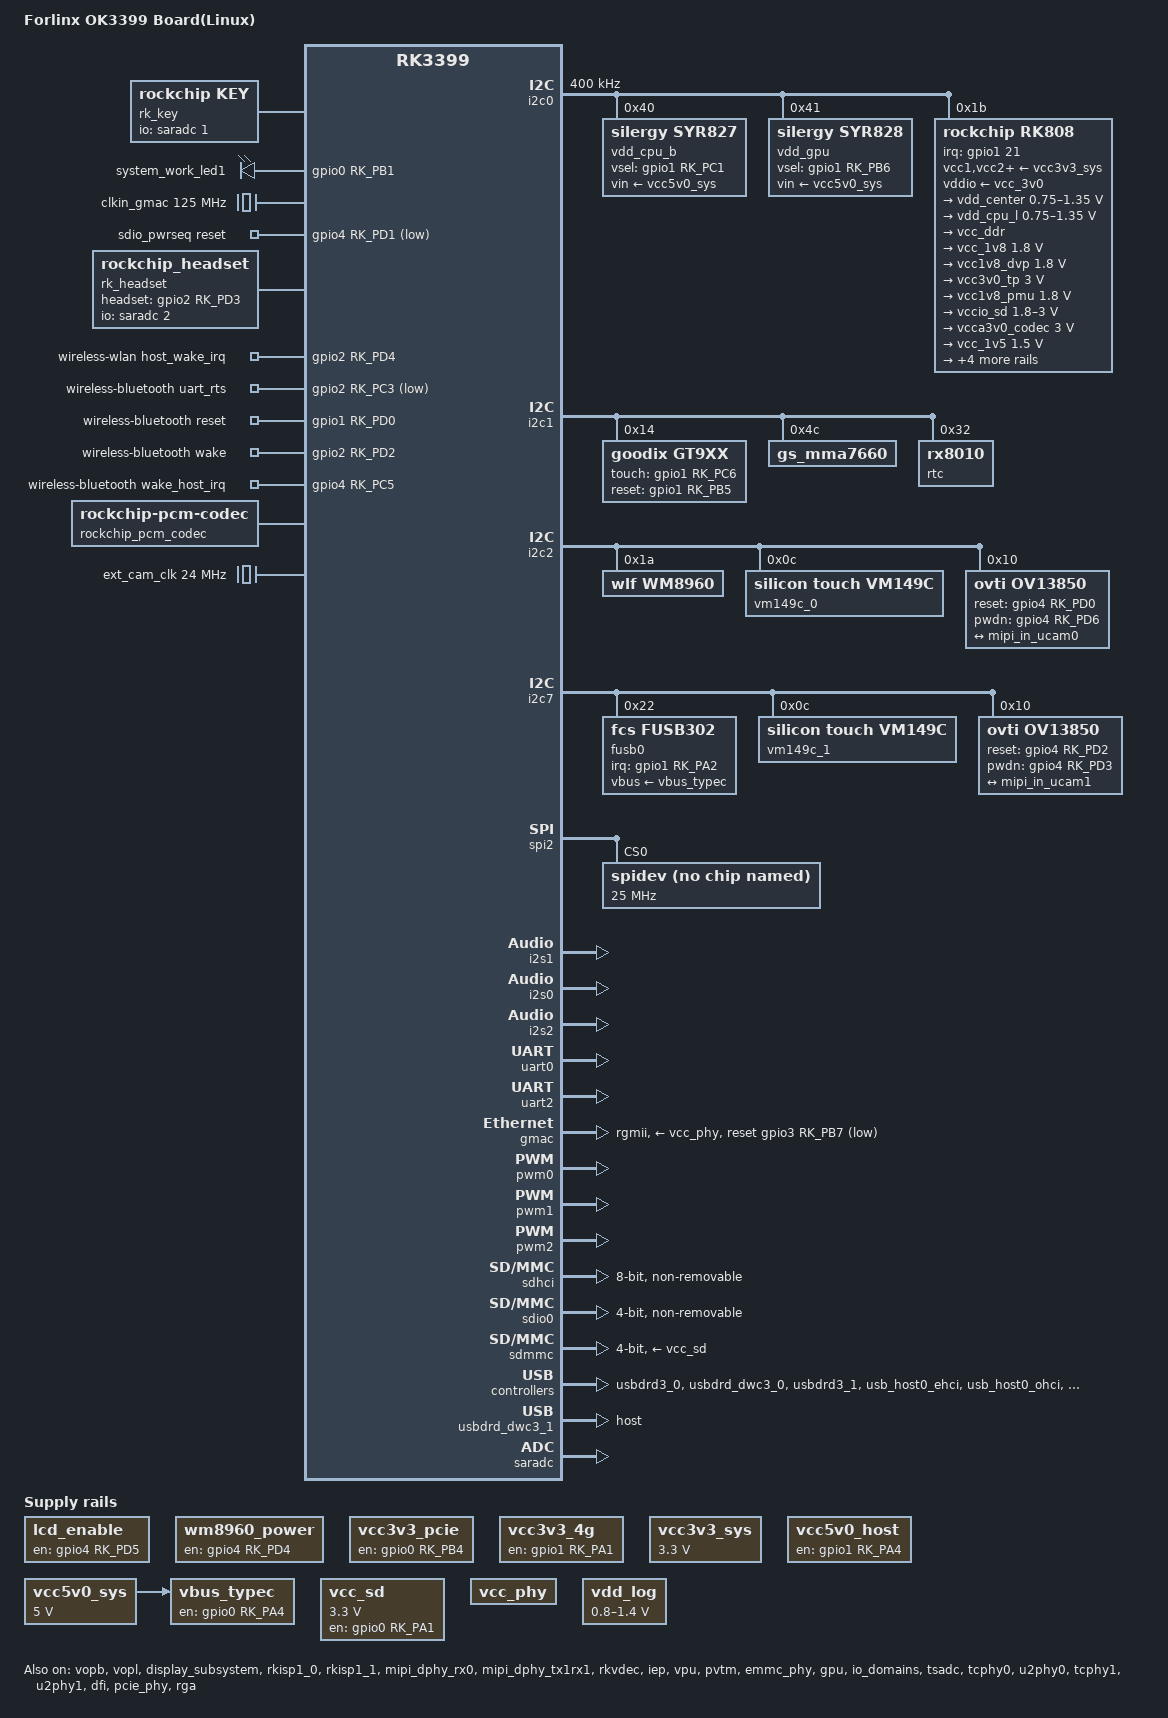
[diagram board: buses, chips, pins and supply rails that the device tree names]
/*
 * Copyright (c) 2016 Fuzhou Rockchip Electronics Co., Ltd
 *
 * This file is dual-licensed: you can use it either under the terms
 * of the GPL or the X11 license, at your option. Note that this dual
 * licensing only applies to this file, and not this project as a
 * whole.
 *
 *  a) This file is free software; you can redistribute it and/or
 *     modify it under the terms of the GNU General Public License as
 *     published by the Free Software Foundation; either version 2 of the
 *     License, or (at your option) any later version.
 *
 *     This file is distributed in the hope that it will be useful,
 *     but WITHOUT ANY WARRANTY; without even the implied warranty of
 *     MERCHANTABILITY or FITNESS FOR A PARTICULAR PURPOSE.  See the
 *     GNU General Public License for more details.
 *
 * Or, alternatively,
 *
 *  b) Permission is hereby granted, free of charge, to any person
 *     obtaining a copy of this software and associated documentation
 *     files (the "Software"), to deal in the Software without
 *     restriction, including without limitation the rights to use,
 *     copy, modify, merge, publish, distribute, sublicense, and/or
 *     sell copies of the Software, and to permit persons to whom the
 *     Software is furnished to do so, subject to the following
 *     conditions:
 *
 *     The above copyright notice and this permission notice shall be
 *     included in all copies or substantial portions of the Software.
 *
 *     THE SOFTWARE IS PROVIDED "AS IS", WITHOUT WARRANTY OF ANY KIND,
 *     EXPRESS OR IMPLIED, INCLUDING BUT NOT LIMITED TO THE WARRANTIES
 *     OF MERCHANTABILITY, FITNESS FOR A PARTICULAR PURPOSE AND
 *     NONINFRINGEMENT. IN NO EVENT SHALL THE AUTHORS OR COPYRIGHT
 *     HOLDERS BE LIABLE FOR ANY CLAIM, DAMAGES OR OTHER LIABILITY,
 *     WHETHER IN AN ACTION OF CONTRACT, TORT OR OTHERWISE, ARISING
 *     FROM, OUT OF OR IN CONNECTION WITH THE SOFTWARE OR THE USE OR
 *     OTHER DEALINGS IN THE SOFTWARE.
 */

/dts-v1/;

#include <dt-bindings/pwm/pwm.h>
#include "rk3399.dtsi"
#include "rk3399-opp.dtsi"
#include <dt-bindings/display/drm_mipi_dsi.h>
#include <dt-bindings/display/media-bus-format.h>
#include <dt-bindings/sensor-dev.h>
#include "rk3399-vop-clk-set.dtsi"

/ {
	model = "Forlinx OK3399 Board(Linux)";
	compatible = "rockchip,linux", "rockchip,rk3399", "forlinx,OK3399-C";
	chosen {
		bootargs = "earlyprintk swiotlb=1 console=ttyS2,115200 rw root=PARTUUID=614e0000-0000 rootfstype=ext4 rootwait coherent_pool=1m mem=768M";
//	      bootargs = "earlycon=uart8250,mmio32,0xff1a0000 swiotlb=1 console=ttyFIQ0,115200,n8 rw root=PARTUUID=614e0000-0000 rootfstype=ext4 rootwait coherent_pool=1m";
	      stdout-path = "serial2:115200n8";
	};

	reserved-memory {
		#address-cells = <2>;
		#size-cells = <2>;
		ranges;

		drm_logo: drm-logo@00000000 {
			compatible = "rockchip,drm-logo";
			reg = <0x0 0x0 0x0 0x0>;
		};
	
		ramoops: ramoops@110000 {
			compatible = "ramoops";
			reg = <0x0 0x110000 0x0 0xf0000>;
			record-size = <0x20000>;
			console-size = <0x80000>;
			ftrace-size = <0x00000>;
			pmsg-size = <0x50000>;
		};	
		


	};



	cpuinfo {
		compatible = "rockchip,cpuinfo";
		nvmem-cells = <&cpu_id>;
		nvmem-cell-names = "id";
	};

	fiq_debugger: fiq-debugger {
		compatible = "rockchip,fiq-debugger";
		status = "disabled";
		rockchip,serial-id = <2>;
		rockchip,wake-irq = <0>;
		rockchip,irq-mode-enable = <0>;  /* If enable uart uses irq instead of fiq */
		rockchip,baudrate = <1500000>;  /* Only 115200 and 1500000 */
		pinctrl-names = "default";
		pinctrl-0 = <&uart2c_xfer>;
		interrupts = <GIC_SPI 150 IRQ_TYPE_LEVEL_HIGH 0>;
	};

	rga: rga@ff680000 {
		compatible = "rockchip,rga2";
		dev_mode = <1>;
		reg = <0x0 0xff680000 0x0 0x1000>;
		interrupts = <GIC_SPI 55 IRQ_TYPE_LEVEL_HIGH 0>;
		clocks = <&cru ACLK_RGA>, <&cru HCLK_RGA>, <&cru SCLK_RGA_CORE>;
		clock-names = "aclk_rga", "hclk_rga", "clk_rga";
		power-domains = <&power RK3399_PD_RGA>;
		dma-coherent;
		status = "okay";
	};

	rk_key: rockchip-key {
		compatible = "rockchip,key";
		status = "okay";

		io-channels = <&saradc 1>;

		vol-up-key {
			linux,code = <115>;
			label = "volume up";
			rockchip,adc_value = <1>;
		};

		vol-down-key {
			linux,code = <114>;
			label = "volume down";
			rockchip,adc_value = <170>;
		};

		power-key {
			gpios = <&gpio0 5 GPIO_ACTIVE_LOW>;
			linux,code = <116>;
			label = "power";
			gpio-key,wakeup;
		};
	};

	leds: gpio-leds {
		compatible = "gpio-leds";
		pinctrl-names = "default";
		pinctrl-0 =<&leds_gpio>;

		led@1 {
			gpios = <&gpio0 RK_PB1 GPIO_ACTIVE_HIGH>;
			label = "system_work_led1"; 
			linux,default-trigger = "heartbeat";
		};

	};
	edp_backlight: edp_backlight {
		status = "disabled";
		compatible = "pwm-backlight";
		pwms = <&pwm1 0 25000 0>;
		enable-gpios = <&gpio1 RK_PC4 GPIO_ACTIVE_HIGH>;

		pinctrl-names = "default";
		pinctrl-0 = <&edp_backlight_enable>;

		brightness-levels = <
			  0   1   2   3   4   5   6   7
			  8   9  10  11  12  13  14  15
			 16  17  18  19  20  21  22  23
			 24  25  26  27  28  29  30  31
			 32  33  34  35  36  37  38  39
			 40  41  42  43  44  45  46  47
			 48  49  50  51  52  53  54  55
			 56  57  58  59  60  61  62  63
			 64  65  66  67  68  69  70  71
			 72  73  74  75  76  77  78  79
			 80  81  82  83  84  85  86  87
			 88  89  90  91  92  93  94  95
			 96  97  98  99 100 101 102 103
			104 105 106 107 108 109 110 111
			112 113 114 115 116 117 118 119
			120 121 122 123 124 125 126 127
			128 129 130 131 132 133 134 135
			136 137 138 139 140 141 142 143
			144 145 146 147 148 149 150 151
			152 153 154 155 156 157 158 159
			160 161 162 163 164 165 166 167
			168 169 170 171 172 173 174 175
			176 177 178 179 180 181 182 183
			184 185 186 187 188 189 190 191
			192 193 194 195 196 197 198 199
			200 201 202 203 204 205 206 207
			208 209 210 211 212 213 214 215
			216 217 218 219 220 221 222 223
			224 225 226 227 228 229 230 231
			232 233 234 235 236 237 238 239
			240 241 242 243 244 245 246 247
			248 249 250 251 252 253 254 255>;
		default-brightness-level = <200>;
	};

	dsi_backlight: dsi_backlight {
		status = "disabled";
		compatible = "pwm-backlight";
		pwms = <&pwm0 0 20000 0>;
		brightness-threshold;

		brightness-levels = <
			  0   1   2   3   4   5   6   7
			  8   9  10  11  12  13  14  15
			 16  17  18  19  20  21  22  23
			 24  25  26  27  28  29  30  31
			 32  33  34  35  36  37  38  39
			 40  41  42  43  44  45  46  47
			 48  49  50  51  52  53  54  55
			 56  57  58  59  60  61  62  63
			 64  65  66  67  68  69  70  71
			 72  73  74  75  76  77  78  79
			 80  81  82  83  84  85  86  87
			 88  89  90  91  92  93  94  95
			 96  97  98  99 100 101 102 103
			104 105 106 107 108 109 110 111
			112 113 114 115 116 117 118 119
			120 121 122 123 124 125 126 127
			128 129 130 131 132 133 134 135
			136 137 138 139 140 141 142 143
			144 145 146 147 148 149 150 151
			152 153 154 155 156 157 158 159
			160 161 162 163 164 165 166 167
			168 169 170 171 172 173 174 175
			176 177 178 179 180 181 182 183
			184 185 186 187 188 189 190 191
			192 193 194 195 196 197 198 199
			200 201 202 203 204 205 206 207
			208 209 210 211 212 213 214 215
			216 217 218 219 220 221 222 223
			224 225 226 227 228 229 230 231
			232 233 234 235 236 237 238 239
			240 241 242 243 244 245 246 247
			248 249 250 251 252 253 254 255>;
		default-brightness-level = <200>;
	};

	clkin_gmac: external-gmac-clock {
		compatible = "fixed-clock";
		clock-frequency = <125000000>;
		clock-output-names = "clkin_gmac";
		#clock-cells = <0>;
	};

	dw_hdmi_audio: dw-hdmi-audio {
		status = "disabled";
		compatible = "rockchip,dw-hdmi-audio";
		#sound-dai-cells = <0>;
	};

	wm8960_sound: wm8960-sound {
		status = "okay";
		compatible = "simple-audio-card";
		simple-audio-card,format = "i2s";
		simple-audio-card,name = "RKWM8960";
		simple-audio-card,mclk-fs = <256>;
		simple-audio-card,widgets =
			"Microphone", "Mic Jack",
			"Line", "Line In",
			"Line", "Line Out",
			"Speaker", "Speaker",
			"Headphone", "Headphone Jack";
		simple-audio-card,routing =
			"Headphone Jack", "HP_L",
			"Headphone Jack", "HP_R",
			"Speaker", "SPK_LP",
			"Speaker", "SPK_LN",
			"Speaker", "SPK_RP",
			"Speaker", "SPK_RN",
			"LINPUT1", "Mic Jack",
			"LINPUT3", "Mic Jack",
			"RINPUT1", "Mic Jack",
			"RINPUT2", "Mic Jack";
		simple-audio-card,cpu {
    		sound-dai = <&i2s0>;
		};
		simple-audio-card,codec {
			sound-dai = <&wm8960>;
		};
	};


	hdmi_sound: hdmi-sound {
		status = "disabled";
		compatible = "simple-audio-card";
		simple-audio-card,format = "i2s";
		simple-audio-card,mclk-fs = <256>;
		simple-audio-card,name = "rockchip,hdmi";

		simple-audio-card,cpu {
			sound-dai = <&i2s2>;
		};
		simple-audio-card,codec {
			sound-dai = <&hdmi>;
		};
	};

	ap6256_lpo_clk: ap6256_lpo_clk {
		compatible = "fixed-clock";
		clock-frequency = <32768>;
		clock-output-names = "ap6256_lpo_clk";
		#clock-cells = <0>;
	};

	sdio_pwrseq: sdio-pwrseq {
		compatible = "mmc-pwrseq-simple";
		clocks = <&ap6256_lpo_clk>;
		clock-names = "ext_clock";
		pinctrl-names = "default";
		pinctrl-0 = <&wifi_enable_h>;

		/*
		 * On the module itself this is one of these (depending
		 * on the actual card populated):
		 * - SDIO_RESET_L_WL_REG_ON
		 * - PDN (power down when low)
		 */
		reset-gpios = <&gpio4 RK_PD1 GPIO_ACTIVE_LOW>;
	};

	dp_sound: dp-sound {
		status = "disabled";
		compatible = "rockchip,cdndp-sound";
		rockchip,cpu = <&spdif>;
		rockchip,codec = <&cdn_dp 0>;
	};

	lcd_en-regulator {
		status = "okay";
		compatible = "regulator-fixed";
		enable-active-high;
		regulator-always-on;
		regulator-boot-on;
		gpio = <&gpio4 RK_PD5 GPIO_ACTIVE_HIGH>;
		pinctrl-names = "default";
		pinctrl-0 = <&lcd_enable>;
		regulator-name = "lcd_enable";
	};

	wm8960-regulator {
		compatible = "regulator-fixed";
		enable-active-high;
		regulator-always-on;
		regulator-boot-on;
		gpio = <&gpio4 RK_PD4 GPIO_ACTIVE_HIGH>;
		pinctrl-names = "default";
		pinctrl-0 = <&wm8960_power>;
		regulator-name = "wm8960_power";
	};

	vcc3v3_pcie: vcc3v3-pcie-regulator {
		compatible = "regulator-fixed";
		enable-active-high;
		regulator-always-on;
		regulator-boot-on;
		gpio = <&gpio0 RK_PB4 GPIO_ACTIVE_HIGH>;
		pinctrl-names = "default";
		pinctrl-0 = <&pcie_drv>;
		regulator-name = "vcc3v3_pcie";
	};

	vcc3v3_4g: vcc3v3-4g-regulator {
		compatible = "regulator-fixed";
		enable-active-high;
		regulator-always-on;
		regulator-boot-on;
		gpio = <&gpio1 RK_PA1 GPIO_ACTIVE_HIGH>;
		pinctrl-names = "default";
		pinctrl-0 = <&pcie_4g_drv>;
		regulator-name = "vcc3v3_4g";
	};

	vcc3v3_sys: vcc3v3-sys {
		compatible = "regulator-fixed";
		regulator-name = "vcc3v3_sys";
		regulator-always-on;
		regulator-boot-on;
		regulator-min-microvolt = <3300000>;
		regulator-max-microvolt = <3300000>;
	};

	vcc5v0_host: vcc5v0-host-regulator {
		compatible = "regulator-fixed";
		enable-active-high;
		gpio = <&gpio1 RK_PA4 GPIO_ACTIVE_HIGH>;
		pinctrl-names = "default";
		pinctrl-0 = <&host_vbus_drv>;
		regulator-name = "vcc5v0_host";
		regulator-always-on;
	};
	
	vbus_typec: vbus-5vout {
                compatible = "regulator-fixed";
                enable-active-high;
                gpio = <&gpio0 RK_PA4 GPIO_ACTIVE_HIGH>;
                pinctrl-names = "default";
                pinctrl-0 = <&fusb0_vbus>;
                regulator-name = "vbus_5vout";
		vin-supply=<&vcc5v0_sys>;
		regulator-state-mem {
                        regulator-off-in-suspend;
                };
        };
	
	
	vcc5v0_sys: vcc5v0-sys {
		compatible = "regulator-fixed";
		regulator-name = "vcc5v0_sys";
		regulator-always-on;
		regulator-boot-on;
		regulator-min-microvolt = <5000000>;
		regulator-max-microvolt = <5000000>;
	};

	vcc_sd: vcc-sd {
		compatible = "regulator-fixed";
		enable-active-high;
		gpio = <&gpio0 RK_PA1 GPIO_ACTIVE_HIGH>;
		pinctrl-names = "default";
		pinctrl-0 = <&vcc_sd_h>;
		regulator-name = "vcc_sd";
		regulator-min-microvolt = <3300000>;
		regulator-max-microvolt = <3300000>;
	};

	vcc_phy: vcc-phy-regulator {
		compatible = "regulator-fixed";
		regulator-name = "vcc_phy";
		regulator-always-on;
		regulator-boot-on;
	};

	vdd_log: vdd-log {
		compatible = "pwm-regulator";
		pwms = <&pwm2 0 25000 1>;
		regulator-name = "vdd_log";
		regulator-min-microvolt = <800000>;
		regulator-max-microvolt = <1400000>;
		regulator-always-on;
		regulator-boot-on;

		/* for rockchip boot on */
		rockchip,pwm_id= <2>;
		rockchip,pwm_voltage = <930000>;
	};

	spdif_sound: spdif-sound {
		status = "disabled";
		compatible = "simple-audio-card";
		simple-audio-card,name = "ROCKCHIP,SPDIF";
		simple-audio-card,cpu {
			sound-dai = <&spdif>;
		};
		simple-audio-card,codec {
			sound-dai = <&spdif_out>;
		};
	};

	rk_headset {
		compatible = "rockchip_headset";
		headset_gpio = <&gpio2 RK_PD3 GPIO_ACTIVE_HIGH>;
		pinctrl-names = "default";
		pinctrl-0 = <&hp_det>;
		io-channels = <&saradc 2>;
	};
				
	spdif_out: spdif-out {
		status = "disabled";
		compatible = "linux,spdif-dit";
		#sound-dai-cells = <0>;
	};

	wireless-wlan {
		compatible = "wlan-platdata";
		rockchip,grf = <&grf>;
		wifi_chip_type = "ap6256";
		sdio_vref = <1800>;
		WIFI,host_wake_irq = <&gpio2 RK_PD4 GPIO_ACTIVE_HIGH>;
		status = "okay";
	};

	wireless-bluetooth {
		compatible = "bluetooth-platdata";
		clocks = <&ap6256_lpo_clk>;
		clock-names = "ext_clock";
		//wifi-bt-power-toggle;
		uart_rts_gpios = <&gpio2 RK_PC3 GPIO_ACTIVE_LOW>; /* GPIO2_C3 */
		pinctrl-names = "default", "rts_gpio";
		pinctrl-0 = <&uart0_rts>;
		pinctrl-1 = <&uart0_gpios>;
		//BT,power_gpio  = <&gpio3 19 GPIO_ACTIVE_HIGH>; /* GPIOx_xx */
		BT,reset_gpio    = <&gpio1 RK_PD0 GPIO_ACTIVE_HIGH>;
		BT,wake_gpio     = <&gpio2 RK_PD2 GPIO_ACTIVE_HIGH>;
		BT,wake_host_irq = <&gpio4 RK_PC5 GPIO_ACTIVE_HIGH>;
		status = "okay";
	};

	edp_panel: edp_panel {
		compatible = "simple-panel";
		prepare-delay-ms = <20>;
		enable-delay-ms = <20>;
		backlight = <&edp_backlight>;
		bpc = <6>;
		ports {
			panel_in: endpoint {
				remote-endpoint = <&edp_out>;
			};
		};
	};

	test-power {
		status = "okay";
	};

	rt5651-sound {
		status = "disabled";
	};

	rockchip_pcm_codec: rockchip-pcm-codec {
		compatible = "rockchip-pcm-codec";
	};

	rockchip-pcm-card {
		compatible = "rockchip-pcm-card";
		status = "okay";
		dais {
			dai0 {
				audio-codec = <&rockchip_pcm_codec>;
				audio-controller = <&i2s1>;
				format = "i2s";
			};
		};
	};	

	forlinx_control {
		status = "disabled";
		primary-display = "DSI0@l";
		secondary-display = "HDMI@b";
	};

	ext_cam_clk: external-camera-clock {
		compatible = "fixed-clock";
		clock-frequency = <24000000>;
		clock-output-names = "CLK_CAMERA_24MHZ";
		#clock-cells = <0>;
	};
};

/* HACK: keep MALI version on linux */
&gpu_power_model {
	// for DDK r14.
	voltage = <900>;
	frequency = <500>;
	static-power = <300>;
	dynamic-power = <396>;
};

&vopb_mmu {
	status = "okay";
};

&vopl_mmu {
	status = "okay";
};

&hdmi_in_vopb {
	status = "disabled";
};

&hdmi_in_vopl {
	status = "disabled";
};

&vopb {
	assigned-clocks = <&cru DCLK_VOP0_DIV>;
	assigned-clock-parents = <&cru PLL_CPLL>;
	status = "okay";
};

&vopl {
	assigned-clocks = <&cru DCLK_VOP1_DIV>;
	assigned-clock-parents = <&cru PLL_CPLL>;
	status = "okay";
};

&hdmi {
	#address-cells = <1>;
	#size-cells = <0>;
	#sound-dai-cells = <0>;
	ddc-i2c-scl-high-time-ns = <9625>;
	ddc-i2c-scl-low-time-ns = <10000>;
	status = "disabled";
};

&cdn_dp {
	status = "disabled";
	extcon = <&fusb0>;
	phys = <&tcphy0_dp>;
};

&dp_in_vopb {
	status = "disabled";
};

&dp_in_vopl {
	status = "disabled";
};

&edp_panel {
	status = "disabled";
};

&edp {
	status = "disabled";
	force-hpd;
	force-edid;

	ports {
		port@1 {
			reg = <1>;
			#address-cells = <1>;
                        #size-cells = <0>;

			edp_out: endpoint@0 {
				status = "disabled";
				reg = <0>;
				remote-endpoint = <&panel_in>;
			};
		};
	};
};

&edp_in_vopl {
	status = "disabled";
};

&edp_in_vopb {
	status = "disabled";
};


&dsi {
	status = "disabled";

	bridge@0{
                status = "okay";
                compatible = "lontium,lt8912";
                reg = <0>;
                backlight = <&dsi_backlight>;
                i2c-bus = <&i2c1>;
		i2c-bus-num = <1>;
                //reset-gpio = <&gpio4 RK_PD5 GPIO_ACTIVE_LOW>;

                prepare-delay-ms = <1>;
                unprepare-delay-ms = <0>;
                enable-delay-ms = <500>;
                disable-delay-ms = <0>;
                init-delay-ms = <1>;
                reset-delay-ms = <1>;
                width-mm = <68>;
                height-mm = <121>;

                dsi,flags = <(MIPI_DSI_MODE_VIDEO | MIPI_DSI_MODE_VIDEO_BURST |
                        MIPI_DSI_MODE_VIDEO_HBP | MIPI_DSI_MODE_LPM | MIPI_DSI_MODE_EOT_PACKET)>;
                dsi,format = <MIPI_DSI_FMT_RGB888>;
                dsi,lanes = <4>;


                display-timings {
                        native-mode = <&timing0>;

                        timing0: timing0 {
                                clock-frequency = <83764800>;
                                hactive = <1280>;
                                vactive = <800>;
                                hback-porch = <200>;
                                hfront-porch = <72>;
                                vback-porch = <22>;
                                vfront-porch = <3>;
                                hsync-len = <128>;
                                vsync-len = <6>;
                                hsync-active = <0>;
                                vsync-active = <0>;
                                de-active = <1>;
                                pixelclk-active = <0>;
                        };
                };
        };

	panel@0{
		status = "okay";
		compatible ="simple-panel-dsi";
		reg = <0>;
		backlight = <&dsi_backlight>;

		re-delay-ms = <2>;
		reset-delay-ms = <1>;
		init-delay-ms = <20>;
		enable-delay-ms = <120>;
		disable-delay-ms = <50>;
		unprepare-delay-ms = <20>;
		width-mm = <68>;
		height-mm = <121>;

		dsi,flags = <(MIPI_DSI_MODE_VIDEO | MIPI_DSI_MODE_VIDEO_BURST |
				MIPI_DSI_MODE_LPM | MIPI_DSI_MODE_EOT_PACKET)>;
		dsi,format = <MIPI_DSI_FMT_RGB888>;
		dsi,lanes = <4>;

		display-timings {
			native-mode = <&timing1>;

			timing1: timing1 {
				 clock-frequency = <45000000>;
				 hactive = <1024>;
				 vactive = <600>;
				 hback-porch = <48>;
				 hfront-porch = <40>;
				 vback-porch = <16>;
				 vfront-porch = <40>;
				 hsync-len = <48>;
				 vsync-len = <3>;
				 hsync-active = <0>;
				 vsync-active = <0>;
				 de-active = <0>;
				 pixelclk-active = <0>;
			};
		};
	};
};

&mipi_in_vopl {
	status = "disabled";
};

&mipi_in_vopb {
	status = "disabled";
};


&display_subsystem {
	status = "okay";

	ports = <&vopb_out>, <&vopl_out>;
	logo-memory-region = <&drm_logo>;

	route {
		route_hdmi: route-hdmi {
			status = "disabled";
			logo,uboot = "logo.bmp";
			logo,kernel = "logo_kernel.bmp";
			logo,mode = "center";
			charge_logo,mode = "center";
			connect = <&vopb_out_hdmi>;
		};

		route_dsi: route-dsi {
			status = "disabled";
			logo,uboot = "logo.bmp";
			logo,kernel = "logo_kernel.bmp";
			logo,mode = "center";
			charge_logo,mode = "center";
			connect = <&vopb_out_mipi>;
		};

		route_dsi1: route-dsi1 {
			status = "disabled";
			logo,uboot = "logo.bmp";
			logo,kernel = "logo_kernel.bmp";
			logo,mode = "center";
			charge_logo,mode = "center";
			connect = <&vopl_out_dp>;
		};

		route_edp: route-edp {
			status = "disabled";
			logo,uboot = "logo.bmp";
			logo,kernel = "logo_kernel.bmp";
			logo,mode = "center";
			charge_logo,mode = "center";
			connect = <&vopl_out_edp>;
		};
		route_dp: route-dp {
			status = "disabled";
			logo,uboot = "logo.bmp";
			logo,kernel = "logo_kernel.bmp";
			logo,mode = "center";
			charge_logo,mode = "center";
			connect = <&vopb_out_dp>;
		};
	};
};


#if 1
&rkisp1_0 {
	status = "okay";

	port {
		#address-cells = <1>;
		#size-cells = <0>;

		isp0_mipi_in: endpoint@0 {
			reg = <0>;
			remote-endpoint = <&dphy_rx0_out>;
		};
	};
};

&rkisp1_1 {
	status = "okay";

	port {
		#address-cells = <1>;
		#size-cells = <0>;

		isp1_mipi_in: endpoint@0 {
			reg = <0>;
			remote-endpoint = <&dphy_tx1rx1_out>;
		};
	};
};

&mipi_dphy_rx0 {
	status = "okay";

	ports {
		#address-cells = <1>;
		#size-cells = <0>;

		port@0 {
			reg = <0>;
			#address-cells = <1>;
			#size-cells = <0>;

			mipi_in_ucam0: endpoint@1 {
				reg = <1>;
				remote-endpoint = <&ucam_out0>;
				data-lanes = <1 2>;
			};
		};

		port@1 {
			reg = <1>;
			#address-cells = <1>;
			#size-cells = <0>;

			dphy_rx0_out: endpoint@0 {
				reg = <0>;
				remote-endpoint = <&isp0_mipi_in>;
			};
		};
	};
};

&mipi_dphy_tx1rx1 {
	status = "okay";

	ports {
		#address-cells = <1>;
		#size-cells = <0>;

		port@0 {
			reg = <0>;
			#address-cells = <1>;
			#size-cells = <0>;

			mipi_in_ucam1: endpoint@1 {
				reg = <1>;
				/* Unlinked camera */
				remote-endpoint = <&ucam_out1>;
				data-lanes = <1 2>;
			};
		};

		port@1 {
			reg = <1>;
			#address-cells = <1>;
			#size-cells = <0>;

			dphy_tx1rx1_out: endpoint@0 {
				reg = <0>;
				remote-endpoint = <&isp1_mipi_in>;
			};
		};
	};
};
#endif
&i2c0 {
	status = "okay";
	i2c-scl-rising-time-ns = <168>;
	i2c-scl-falling-time-ns = <4>;
	clock-frequency = <400000>;

	vdd_cpu_b: syr837@40 {
		compatible = "silergy,syr827";
		reg = <0x40>;
		vin-supply = <&vcc5v0_sys>;
		regulator-compatible = "fan53555-reg";
		pinctrl-0 = <&vsel1_gpio>;
		vsel-gpios = <&gpio1 RK_PC1 GPIO_ACTIVE_HIGH>;
		regulator-name = "vdd_cpu_b";
		regulator-min-microvolt = <712500>;
		regulator-max-microvolt = <1500000>;
		regulator-ramp-delay = <1000>;
		fcs,suspend-voltage-selector = <1>;
		regulator-always-on;
		regulator-initial-state = <3>;
		regulator-state-mem {
			regulator-off-in-suspend;
		};
	};

	vdd_gpu: syr828@41 {
		compatible = "silergy,syr828";
		status = "okay";
		reg = <0x41>;
		vin-supply = <&vcc5v0_sys>;
		regulator-compatible = "fan53555-reg";
		pinctrl-0 = <&vsel2_gpio>;
		vsel-gpios = <&gpio1 RK_PB6 GPIO_ACTIVE_HIGH>;
		regulator-name = "vdd_gpu";
		regulator-min-microvolt = <735000>;
		regulator-max-microvolt = <1400000>;
		regulator-ramp-delay = <1000>;
		fcs,suspend-voltage-selector = <1>;
		regulator-boot-on;
		regulator-state-mem {
			regulator-off-in-suspend;
		};
	};
	/*power manager ic*/
	rk808: pmic@1b {
		compatible = "rockchip,rk808";
		reg = <0x1b>;
		interrupt-parent = <&gpio1>;
		interrupts = <21 IRQ_TYPE_LEVEL_LOW>;
                pinctrl-names = "default";
                pinctrl-0 = <&pmic_int_l>;

		rockchip,system-power-controller;
		wakeup-source;
		#clock-cells = <1>;
		clock-output-names = "xin32k", "rk808-clkout2";

		vcc1-supply = <&vcc3v3_sys>;
		vcc2-supply = <&vcc3v3_sys>;
		vcc3-supply = <&vcc3v3_sys>;
		vcc4-supply = <&vcc3v3_sys>;
		vcc6-supply = <&vcc3v3_sys>;
		vcc7-supply = <&vcc3v3_sys>;
		vcc8-supply = <&vcc3v3_sys>;
		vcc9-supply = <&vcc3v3_sys>;
		vcc10-supply = <&vcc3v3_sys>;
		vcc11-supply = <&vcc3v3_sys>;
		vcc12-supply = <&vcc3v3_sys>;
		vddio-supply = <&vcc_3v0>;

		regulators {
			vdd_center: DCDC_REG1 {
				regulator-always-on;
				regulator-boot-on;
				regulator-min-microvolt = <750000>;
				regulator-max-microvolt = <1350000>;
				regulator-ramp-delay = <6001>;
				regulator-name = "vdd_center";
				regulator-state-mem {
					regulator-off-in-suspend;
				};
			};

			vdd_cpu_l: DCDC_REG2 {
				regulator-always-on;
				regulator-boot-on;
				regulator-min-microvolt = <750000>;
				regulator-max-microvolt = <1350000>;
				regulator-ramp-delay = <6001>;
				regulator-name = "vdd_cpu_l";
				regulator-state-mem {
					regulator-off-in-suspend;
				};
			};

			vcc_ddr: DCDC_REG3 {
				regulator-always-on;
				regulator-boot-on;
				regulator-name = "vcc_ddr";
				regulator-state-mem {
					regulator-on-in-suspend;
				};
			};

			vcc_1v8: DCDC_REG4 {
				regulator-always-on;
				regulator-boot-on;
				regulator-min-microvolt = <1800000>;
				regulator-max-microvolt = <1800000>;
				regulator-name = "vcc_1v8";
				regulator-state-mem {
					regulator-on-in-suspend;
					regulator-suspend-microvolt = <1800000>;
				};
			};

			vcc1v8_dvp: LDO_REG1 {
				regulator-always-on;
				regulator-boot-on;
				regulator-min-microvolt = <1800000>;
				regulator-max-microvolt = <1800000>;
				regulator-name = "vcc1v8_dvp";
				regulator-state-mem {
					regulator-off-in-suspend;
				};
			};

			vcc3v0_tp: LDO_REG2 {
				regulator-min-microvolt = <3000000>;
				regulator-max-microvolt = <3000000>;
				regulator-name = "vcc3v0_tp";
				regulator-state-mem {
					regulator-off-in-suspend;
				};
			};

			vcc1v8_pmu: LDO_REG3 {
				regulator-always-on;
				regulator-boot-on;
				regulator-min-microvolt = <1800000>;
				regulator-max-microvolt = <1800000>;
				regulator-name = "vcc1v8_pmu";
				regulator-state-mem {
					regulator-on-in-suspend;
					regulator-suspend-microvolt = <1800000>;
				};
			};

			vccio_sd: LDO_REG4 {
				regulator-always-on;
				regulator-boot-on;
				regulator-min-microvolt = <1800000>;
				regulator-max-microvolt = <3000000>;
				regulator-name = "vccio_sd";
				regulator-state-mem {
					regulator-on-in-suspend;
					regulator-suspend-microvolt = <3000000>;
				};
			};

			vcca3v0_codec: LDO_REG5 {
				regulator-always-on;
				regulator-boot-on;
				regulator-min-microvolt = <3000000>;
				regulator-max-microvolt = <3000000>;
				regulator-name = "vcca3v0_codec";
				regulator-state-mem {
					regulator-off-in-suspend;
				};
			};

			vcc_1v5: LDO_REG6 {
				regulator-min-microvolt = <1500000>;
				regulator-max-microvolt = <1500000>;
				regulator-name = "vcc_1v5";
				regulator-state-mem {
					regulator-off-in-suspend;
				};
			};

			vcca1v8_codec: LDO_REG7 {
				regulator-always-on;
				regulator-boot-on;
				regulator-min-microvolt = <1800000>;
				regulator-max-microvolt = <1800000>;
				regulator-name = "vcca1v8_codec";
				regulator-state-mem {
					regulator-off-in-suspend;
				};
			};

			vcc_3v0: LDO_REG8 {
				regulator-min-microvolt = <3000000>;
				regulator-max-microvolt = <3000000>;
				regulator-name = "vcc_3v0";
				regulator-state-mem {
					regulator-on-in-suspend;
					regulator-suspend-microvolt = <3000000>;
				};
			};

			vcc3v3_s3: SWITCH_REG1 {
				regulator-always-on;
				regulator-boot-on;
				regulator-name = "vcc3v3_s3";
				regulator-state-mem {
					regulator-off-in-suspend;
				};
			};

			vcc3v3_s0: SWITCH_REG2 {
				regulator-always-on;
				regulator-boot-on;
				regulator-name = "vcc3v3_s0";
				regulator-state-mem {
					regulator-off-in-suspend;
				};
			};
		};
	};
};

&i2c1 {
	status = "okay";
	i2c-scl-rising-time-ns = <300>;
	i2c-scl-falling-time-ns = <15>;
#if 0
	/*没有触摸屏*/
	polytouch: edt-ft5x06@38{
		compatible = "edt,edt-ft5406", "edt,edt-ft5x06";
		reg = <0x38>;
		pinctrl-names = "defaults";
		pinctrl-0 = <&ft5x06_int>;
		interrupt-parent = <&gpio1>;
		interrupts = <RK_PC6 IRQ_TYPE_EDGE_FALLING>;
		touchscreen-size-x = <1024>;
		touchscreen-size-y = <600>;
		status = "okay";
	};
#endif
	gt9xx: gt9xx@14 {
		compatible = "goodix,gt9xx";
		reg = <0x14>;
		touch-gpio = <&gpio1 RK_PC6 IRQ_TYPE_LEVEL_LOW>;
		reset-gpio = <&gpio1 RK_PB5 GPIO_ACTIVE_HIGH>;
		max-x = <1280>;
		max-y = <800>;
		tp-size = <970>;
	};

	gs_mma7660: gs-mma7660@4c{
		compatible = "gs_mma7660";
		reg = <0x4c>;
		type = <SENSOR_TYPE_ACCEL>;
		poll_delay_ms = <30>;
		layout = <8>;
		status = "okay";
	};

	rtc@32 {
		compatible = "rx8010";
		reg = <0x32>;
		status = "okay";
	};
};

&i2c2 {
	status = "okay";
	i2c-scl-rising-time-ns = <300>;
	i2c-scl-falling-time-ns = <15>;

	wm8960: wm8960@1a {
		#sound-dai-cells = <0>;
		compatible = "wlf,wm8960";
		reg = <0x1a>;
		wlf,shared-lrclk;
		clocks = <&cru SCLK_I2S_8CH_OUT>;
		assigned-clocks = <&cru SCLK_I2SOUT_SRC>;
		assigned-clock-parents = <&cru  SCLK_I2S0_8CH>;
		clock-names = "mclk";
		pinctrl-names = "default";
		pinctrl-0 = <&i2s_8ch_mclk>;
		hp-volume = <20>;
		spk-volume = <3>;
		status = "okay";
	};

	vm149c_0: vm149c@0c {
		compatible = "silicon touch,vm149c";
		status = "okay";
		reg = <0x0c>;
		rockchip,camera-module-index = <0>;
		rockchip,camera-module-facing = "back";
	};


	ov13850@10 {
		compatible = "ovti,ov13850";
		status = "okay";
		reg = <0x10>;
		clocks = <&ext_cam_clk>;
		clock-names = "xvclk";

		/* conflict with csi-ctl-gpios */
		reset-gpios = <&gpio4 RK_PD0 GPIO_ACTIVE_HIGH>;
		pwdn-gpios = <&gpio4 RK_PD6 GPIO_ACTIVE_HIGH>;
		pinctrl-names = "rockchip,camera_default", "rockchip,camera_sleep";
		pinctrl-0 = <&cam0_default_pins>;
		pinctrl-1 = <&cam0_sleep_pins>;
		rockchip,camera-module-index = <0>;
		rockchip,camera-module-facing = "back";
		rockchip,camera-module-name = "CMK-CT0116";
		rockchip,camera-module-lens-name = "Largan-50013A1";

		lens-focus = <&vm149c_0>;

		port {
			ucam_out0: endpoint {
				remote-endpoint = <&mipi_in_ucam0>;
				data-lanes = <1 2>;
			};
		};
	};

};


&i2c4 {
	status = "disabled";
	i2c-scl-rising-time-ns = <300>;
	i2c-scl-falling-time-ns = <15>;
};

&i2c7 {
	status = "okay";
	i2c-scl-rising-time-ns = <300>;
	i2c-scl-falling-time-ns = <15>;
#if 0
	fusb0: fusb30x@22 {
		compatible = "fairchild,fusb302";
		reg = <0x22>;
		pinctrl-names = "default";
		pinctrl-0 = <&fusb0_int>, <&fusb0_vbus>;
		int-n-gpios = <&gpio1 RK_PA2 GPIO_ACTIVE_HIGH>;
		vbus-5v-gpios = <&gpio0 RK_PA4 GPIO_ACTIVE_HIGH>;
		status = "okay";
	};
#endif	
        fusb0: fusb30x@22 {
                compatible = "fcs,fusb302";
                reg = <0x22>;
                interrupt-parent = <&gpio1>;
                interrupts = <RK_PA2 IRQ_TYPE_LEVEL_HIGH>;
                pinctrl-names = "default";
                pinctrl-0 = <&fusb0_int>;
                vbus-supply = <&vbus_typec>;
        };
	
	vm149c_1: vm149c@0c {
		compatible = "silicon touch,vm149c";
		status = "okay";
		reg = <0x0c>;
		rockchip,camera-module-index = <0>;
		rockchip,camera-module-facing = "front";
	};

	ov13850@10 {
		compatible = "ovti,ov13850";
		status = "okay";
		reg = <0x10>;
		clocks = <&ext_cam_clk>;
		clock-names = "xvclk";

		/* conflict with csi-ctl-gpios */
		reset-gpios = <&gpio4 RK_PD2 GPIO_ACTIVE_HIGH>;
		pwdn-gpios = <&gpio4 RK_PD3 GPIO_ACTIVE_HIGH>;
		pinctrl-names = "rockchip,camera_default", "rockchip,camera_sleep";
		pinctrl-0 = <&cam1_default_pins>;
		pinctrl-1 = <&cam1_sleep_pins>;
		rockchip,camera-module-index = <1>;
		rockchip,camera-module-facing = "front";
		rockchip,camera-module-name = "CMK-CT0116";
		rockchip,camera-module-lens-name = "Largan-50013A1";

		lens-focus = <&vm149c_1>;

		port {
			ucam_out1: endpoint {
				remote-endpoint = <&mipi_in_ucam1>;
				data-lanes = <1 2>;
			};
		};
	};

};

&spi1 {
	status = "disabled";
	spidev@0 {
                compatible = "rockchip,spidev", "rohm,dh2228fv";
                reg = <0>;
                spi-max-frequency = <25000000>;
        };
};

&spi2 {
	status = "okay";
        spidev@0 {
                compatible = "rockchip,spidev", "rohm,dh2228fv";
                reg = <0>;
                spi-max-frequency = <25000000>;
        };
};


&i2s1 {
	status = "okay";
	rockchip,bclk-fs = <32>;
        rockchip,xfer-mode = <1>; 
	rockchip,i2s-broken-burst-len;
	rockchip,playback-channels = <2>;
	rockchip,capture-channels = <2>;
	#sound-dai-cells = <0>;
};

&i2s0 {
	status = "okay";
        #sound-dai-cells = <0>; 
	rockchip,i2s-broken-burst-len;
	rockchip,playback-channels = <2>;
	rockchip,capture-channels = <2>;
};

&i2s2 {
	#sound-dai-cells = <0>;
	rockchip,bclk-fs = <128>;
	status = "okay";
};

&spdif {
	status = "disabled";
	pinctrl-0 = <&spdif_bus>;
	i2c-scl-rising-time-ns = <450>;
	i2c-scl-falling-time-ns = <15>;
	#sound-dai-cells = <0>;
};

&dp_sound {
	status = "disabled";
};

/*
 * if enable dp_sound, should disable spdif_sound and spdif_out
 */
&spdif_out {
    	status = "disabled";
};

&spdif_sound {
    	status = "disabled";
};

&hdmi_sound {
	status = "okay";
};

&uart0 {
	pinctrl-names = "default";
	pinctrl-0 = <&uart0_xfer &uart0_cts>;
	status = "okay";
};
#if 1
&uart4 {
	status = "disabled";
};

&uart2 {
	status = "okay";
};
#endif
#if 1
&rkvdec {
	status = "okay";
};
#endif

&iep {
	status = "okay";
};

&iep_mmu {
	status = "okay";
};

&vpu {
	status = "okay";
};

&pvtm {
	status = "okay";
};

&cpu_l0 {
	cpu-supply = <&vdd_cpu_l>;
};

&cpu_l1 {
	cpu-supply = <&vdd_cpu_l>;
};

&cpu_l2 {
	cpu-supply = <&vdd_cpu_l>;
};

&cpu_l3 {
	cpu-supply = <&vdd_cpu_l>;
};

&cpu_b0 {
	cpu-supply = <&vdd_cpu_b>;
};

&cpu_b1 {
	cpu-supply = <&vdd_cpu_b>;
};

&emmc_phy {
	status = "okay";
};

&gmac {
	phy-supply = <&vcc_phy>;
	phy-mode = "rgmii";
	clock_in_out = "input";
	snps,reset-gpio = <&gpio3 RK_PB7 GPIO_ACTIVE_LOW>;
	snps,reset-active-low;
	snps,reset-delays-us = <0 10000 50000>;
	assigned-clocks = <&cru SCLK_RMII_SRC>;
	assigned-clock-parents = <&clkin_gmac>;
	pinctrl-names = "default";
	pinctrl-0 = <&rgmii_pins>;
	tx_delay = <0x28>;
	rx_delay = <0x11>;
	status = "okay";
};

&gpu {
	status = "okay";
	mali-supply = <&vdd_gpu>;
};

&io_domains {
	status = "okay";

	bt656-supply = <&vcc1v8_dvp>;		/* bt656_gpio2ab_ms */
	audio-supply = <&vcca1v8_codec>;	/* audio_gpio3d4a_ms */
	sdmmc-supply = <&vccio_sd>;		/* sdmmc_gpio4b_ms */
	gpio1830-supply = <&vcc_1v8>;		/* gpio1833_gpio4cd_ms */
};

&pmu_io_domains {
	status = "okay";
	pmu1830-supply = <&vcc_1v8>;
};

&pwm0 {
	status = "okay";
};

&pwm1 {
	status = "okay";
};

&pwm2 {
	status = "okay";
};

&sdhci {
	bus-width = <8>;
	mmc-hs400-1_8v;
	supports-emmc;
	non-removable;
	keep-power-in-suspend;
	mmc-hs400-enhanced-strobe;
	status = "okay";
};

&sdio0 {
	clock-frequency = <50000000>;
	clock-freq-min-max = <200000 50000000>;
	supports-sdio;
	bus-width = <4>;
	disable-wp;
	cap-sd-highspeed;
	cap-sdio-irq;
	keep-power-in-suspend;
	mmc-pwrseq = <&sdio_pwrseq>;
	non-removable;
	num-slots = <1>;
	pinctrl-names = "default";
	pinctrl-0 = <&sdio0_bus4 &sdio0_cmd &sdio0_clk>;
	sd-uhs-sdr104;
	status = "okay";
};

&sdmmc {
	clock-frequency = <150000000>;
	clock-freq-min-max = <100000 150000000>;
	supports-sd;
	bus-width = <4>;
	cap-mmc-highspeed;
	cap-sd-highspeed;
	disable-wp;
	num-slots = <1>;
	//sd-uhs-sdr104;
	vmmc-supply = <&vcc_sd>;
	vqmmc-supply = <&vccio_sd>;
	pinctrl-names = "default";
	pinctrl-0 = <&sdmmc_clk &sdmmc_cmd &sdmmc_cd &sdmmc_bus4>;
	status = "okay";
};


&tsadc {
	/* tshut mode 0:CRU 1:GPIO */
	rockchip,hw-tshut-mode = <1>;
	/* tshut polarity 0:LOW 1:HIGH */
	rockchip,hw-tshut-polarity = <1>;
	status = "okay";
};

&tcphy0 {
	extcon = <&fusb0>;
	status = "okay";
};

&u2phy0 {
	status = "okay";
//	extcon = <&fusb0>;
	u2phy0_otg: otg-port {
		status = "okay";
	};

	u2phy0_host: host-port {
		phy-supply = <&vcc5v0_host>;
		status = "okay";
	};
};

&usbdrd3_0 {
	extcon = <&fusb0>;
	status = "okay";
};

&usbdrd_dwc3_0 {
	status = "okay";
};

&tcphy1 {
	status = "okay";
};

&u2phy1 {
	status = "okay";
//	extcon = <&fusb1>;
	u2phy1_otg: otg-port {
		status = "okay";
	};

	u2phy1_host: host-port {
		phy-supply = <&vcc5v0_sys>;
		status = "okay";
	};
};

&usbdrd3_1 {
	status = "okay";
};

&usbdrd_dwc3_1 {
	status = "okay";
	dr_mode = "host";
};

&usb_host0_ehci {
	status = "okay";
};

&usb_host0_ohci {
	status = "okay";
};

&usb_host1_ehci {
	status = "okay";
};

&usb_host1_ohci {
	status = "okay";
};

&dfi {
	status = "okay";
};

&dmc {
	status = "disabled";
	center-supply = <&vdd_center>;
	upthreshold = <40>;
	downdifferential = <20>;
	system-status-freq = <
		/*system status         freq(KHz)*/
		SYS_STATUS_NORMAL       800000
		SYS_STATUS_REBOOT       528000
		SYS_STATUS_SUSPEND      200000
		SYS_STATUS_VIDEO_1080P  200000
		SYS_STATUS_VIDEO_4K     600000
		SYS_STATUS_VIDEO_4K_10B 800000
		SYS_STATUS_PERFORMANCE  800000
		SYS_STATUS_BOOST        400000
		SYS_STATUS_DUALVIEW     600000
		SYS_STATUS_ISP          600000
	>;
	vop-bw-dmc-freq = <
	/* min_bw(MB/s) max_bw(MB/s) freq(KHz) */
		0       762      200000
		763     1893     400000
		1894    3012     528000
		3013    99999    800000
	>;
	auto-min-freq = <200000>;
};

&pcie_phy {
	status = "okay";
};

&pcie0 {
	ep-gpios = <&gpio0 RK_PB0 GPIO_ACTIVE_HIGH>;
	num-lanes = <4>;
	pinctrl-names = "default";
	pinctrl-0 = <&pcie_reset>;
	status = "disabled";
};

&saradc {
	status = "okay";
};

#if 1
&rockchip_suspend {
	status = "okay";
	rockchip,sleep-debug-en = <1>;
	rockchip,sleep-mode-config = <
		(0
		| RKPM_SLP_ARMPD
		| RKPM_SLP_PERILPPD
		| RKPM_SLP_DDR_RET
		| RKPM_SLP_PLLPD
		| RKPM_SLP_CENTER_PD
		| RKPM_SLP_AP_PWROFF
		)
		>;
	rockchip,wakeup-config = <
		(0
		| RKPM_GPIO_WKUP_EN
		| RKPM_PWM_WKUP_EN
		)
		>;
		rockchip,pwm-regulator-config = <
		(0
		| PWM2_REGULATOR_EN
		)
		>;

	rockchip,power-ctrl =
		<&gpio1 17 GPIO_ACTIVE_HIGH>,
		<&gpio1 14 GPIO_ACTIVE_HIGH>;
};
#endif

&isp0_mmu {
	status = "okay";
};

&isp1_mmu {
	status = "okay";
};

&pinctrl {
    	sdio-pwrseq {
		wifi_enable_h: wifi-enable-h {
			rockchip,pins =
				<4 RK_PD1 RK_FUNC_GPIO &pcfg_pull_none>;
		};
	};

	wireless-bluetooth {
		uart0_gpios: uart0-gpios {
			rockchip,pins =
				<2 RK_PC3 RK_FUNC_GPIO &pcfg_pull_none>;
		};
	};
    
	lcd-panel {
		edp_backlight_enable: edp-backlight-enable {
			rockchip,pins = <1 RK_PC4 RK_FUNC_GPIO &pcfg_pull_up>;
		};

		lcd_enable: lcd-enable {
			rockchip,pins = <4 RK_PD5 RK_FUNC_GPIO &pcfg_pull_up>;
		};
	};

    	pmic {
                pmic_int_l: pmic-int-l {
                        rockchip,pins =
                                <1 21 RK_FUNC_GPIO &pcfg_pull_up>;
                };

                vsel1_gpio: vsel1-gpio {
                                rockchip,pins =
                                        <1 RK_PC1 0 &pcfg_pull_down>;
                };

                vsel2_gpio: vsel2-gpio {
                                rockchip,pins =
                                        <1 RK_PB6 0 &pcfg_pull_down>;
                };
	};

	usb2 {
		host_vbus_drv: host-vbus-drv {
			rockchip,pins =
				<1 RK_PA4 RK_FUNC_GPIO &pcfg_pull_none>;
		};
	};

	vcc_sd {
		vcc_sd_h: vcc-sd-h {
			rockchip,pins =
				<0 RK_PA1 RK_FUNC_GPIO &pcfg_pull_up>;
		};
	};

	fusb30x {
		fusb0_int: fusb0-int {
			rockchip,pins = <1 RK_PA2 RK_FUNC_GPIO &pcfg_pull_up>;
		};

		fusb0_vbus: fusb0-vbus {
			rockchip,pins = <0 RK_PA4 RK_FUNC_GPIO &pcfg_pull_up>;
		};
	};

        pcie {
                pcie_drv: pcie-drv {
                        rockchip,pins =
                                <0 RK_PB4 RK_FUNC_GPIO &pcfg_pull_up>;
                };

                pcie_reset: pcie-reset {
                        rockchip,pins =
                                <0 RK_PB0 RK_FUNC_GPIO &pcfg_pull_none>;
                };

                pcie_4g_drv: pcie-4g-drv {
                        rockchip,pins =
                                <1 RK_PA1 RK_FUNC_GPIO &pcfg_pull_up>;
                };
        };
		
	leds {
		leds_gpio: leds-gpio {
			rockchip,pins = <0 RK_PB1 RK_FUNC_GPIO &pcfg_pull_none>;
		};
	};
	
	touchscreen {
		ft5x06_int: ft5x06-int {
			rockchip,pins = <1 RK_PC6 RK_FUNC_GPIO &pcfg_pull_up>;
		};
	};
	headphone {
		hp_det: hp-det {
			rockchip,pins = <2 RK_PD3 RK_FUNC_GPIO &pcfg_pull_up>;
		};
	};

	wm8960 {
		wm8960_power: wm8960-power {
			rockchip,pins = <4 RK_PD4 RK_FUNC_GPIO &pcfg_pull_up>;
		};
	};
	
	cam_pins {
		cam0_default_pins: cam0-default-pins {
			rockchip,pins =
				<4 RK_PD0 RK_FUNC_GPIO &pcfg_pull_none>,
				<4 RK_PD6 RK_FUNC_GPIO &pcfg_pull_none>;
		};
		cam0_sleep_pins: cam0-sleep-pins {
			rockchip,pins =
				<4 RK_PD0 RK_FUNC_GPIO &pcfg_pull_none>,
				<4 RK_PD6 RK_FUNC_GPIO &pcfg_pull_none>;
		};

		cam1_default_pins: cam1-default-pins {
			rockchip,pins =
				<4 RK_PD2 RK_FUNC_GPIO &pcfg_pull_none>,
				<4 RK_PD3 RK_FUNC_GPIO &pcfg_pull_none>;
		};
		cam1_sleep_pins: cam1-sleep-pins {
			rockchip,pins =
				<4 RK_PD2 RK_FUNC_GPIO &pcfg_pull_none>,
				<4 RK_PD3 RK_FUNC_GPIO &pcfg_pull_none>;
		};
	};
};

